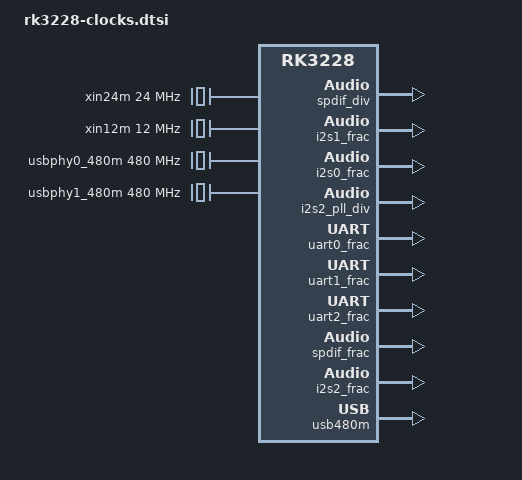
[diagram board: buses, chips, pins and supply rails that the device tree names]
/*
 * Copyright (C) 2014-2015 ROCKCHIP, Inc.
 *
 * This program is free software; you can redistribute it and/or modify
 * it under the terms of the GNU General Public License as published by
 * the Free Software Foundation; either version 2 of the License, or
 * (at your option) any later version.
 *
 * This program is distributed in the hope that it will be useful,
 * but WITHOUT ANY WARRANTY; without even the implied warranty of
 * MERCHANTABILITY or FITNESS FOR A PARTICULAR PURPOSE.  See the
 * GNU General Public License for more details.
 */
#include <dt-bindings/clock/rockchip,rk3228.h>

/{
	clocks {
		compatible = "rockchip,rk-clocks";
		#address-cells = <1>;
		#size-cells = <1>;
		ranges = <0x0  0x110e0000  0x1000>;

		fixed_rate_cons {
			compatible = "rockchip,rk-fixed-rate-cons";

			xin24m: xin24m {
				compatible = "rockchip,rk-fixed-clock";
				clock-output-names = "xin24m";
				clock-frequency = <24000000>;
				#clock-cells = <0>;
			};

			xin12m: xin12m {
				compatible = "rockchip,rk-fixed-clock";
				clocks = <&xin24m>;
				clock-output-names = "xin12m";
				clock-frequency = <12000000>;
				#clock-cells = <0>;
			};

			hdmiphy_out: hdmiphy_out {
				compatible = "rockchip,rk-fixed-clock";
				clock-output-names = "hdmiphy_out";
				clock-frequency = <594000000>;
				#clock-cells = <0>;
			};

			usbphy0_480m: usbphy0_480m {
				compatible = "rockchip,rk-fixed-clock";
				clock-output-names = "usbphy0_480m";
				clock-frequency = <480000000>;
				#clock-cells = <0>;
			};

			usbphy1_480m: usbphy1_480m {
				compatible = "rockchip,rk-fixed-clock";
				clock-output-names = "usbphy1_480m";
				clock-frequency = <480000000>;
				#clock-cells = <0>;
			};

			jtag_clkin: jtag_clkin {
				compatible = "rockchip,rk-fixed-clock";
				clock-output-names = "jtag_clkin";
				clock-frequency = <0>;
				#clock-cells = <0>;
			};

			dummy: dummy {
				compatible = "rockchip,rk-fixed-clock";
				clock-output-names = "dummy";
				clock-frequency = <0>;
				#clock-cells = <0>;
			};

			gmac_clkin: gmac_clkin {
				compatible = "rockchip,rk-fixed-clock";
				clock-output-names = "gmac_clkin";
				clock-frequency = <0>;
				#clock-cells = <0>;
			};

			phy_50m_out: phy_50m_out {
				compatible = "rockchip,rk-fixed-clock";
				clock-output-names = "phy_50m_out";
				clock-frequency = <0>;
				#clock-cells = <0>;
			};

			phy_rx_out: phy_rx_out {
				compatible = "rockchip,rk-fixed-clock";
				clock-output-names = "phy_rx_out";
				clock-frequency = <0>;
				#clock-cells = <0>;
			};

			phy_tx_out: phy_tx_out {
				compatible = "rockchip,rk-fixed-clock";
				clock-output-names = "phy_tx_out";
				clock-frequency = <0>;
				#clock-cells = <0>;
			};

			clkin_hsadc_tsp: clkin_hsadc_tsp {
				compatible = "rockchip,rk-fixed-clock";
				clock-output-names = "clkin_hsadc_tsp";
				clock-frequency = <0>;
				#clock-cells = <0>;
			};

			i2s_clkin: i2s_clkin {
				compatible = "rockchip,rk-fixed-clock";
				clock-output-names = "i2s_clkin";
				clock-frequency = <0>;
				#clock-cells = <0>;
			};
		};

		fixed_factor_cons {
			compatible = "rockchip,rk-fixed-factor-cons";

			hclk_rkvdec: hclk_rkvdec {
				compatible = "rockchip,rk-fixed-factor-clock";
				clocks = <&aclk_rkvdec>;
				clock-output-names = "hclk_rkvdec";
				clock-div = <4>;
				clock-mult = <1>;
				#clock-cells = <0>;
			};

			hclk_vpu: hclk_vpu {
				compatible = "rockchip,rk-fixed-factor-clock";
				clocks = <&aclk_vpu>;
				clock-output-names = "hclk_vpu";
				clock-div = <4>;
				clock-mult = <1>;
				#clock-cells = <0>;
			};

			xin32k_out: xin32k_out {
				compatible = "rockchip,rk-fixed-clock";
				clocks = <&clk_hdmi_cec>;
				clock-output-names = "xin32k_out";
				clock-div = <1>;
				clock-mult = <1>;
				#clock-cells = <0>;
			};

		};

		clock_regs {
			compatible = "rockchip,rk-clock-regs";
			#address-cells = <1>;
			#size-cells = <1>;
			reg = <0x0000 0x1000>;
			ranges;

			/* PLL control regs */
			pll_cons {
				compatible = "rockchip,rk-pll-cons";
				#address-cells = <1>;
				#size-cells = <1>;
				ranges;

				clk_apll: pll-clk@0000 {
					compatible = "rockchip,rk3188-pll-clk";
					reg = <0x0000 0x10>;
					mode-reg = <0x0040 0>;
					status-reg = <0x04 10>;
					clocks = <&xin24m>;
					clock-output-names = "clk_apll";
					rockchip,pll-type = <CLK_PLL_3036_APLL>;
					#clock-cells = <0>;
				};

				clk_dpll: pll-clk@000c {
					compatible = "rockchip,rk3188-pll-clk";
					reg = <0x000c 0x10>;
					mode-reg = <0x0040 4>;
					status-reg = <0x10 10>;
					clocks = <&xin24m>;
					clock-output-names = "clk_dpll";
					rockchip,pll-type = <CLK_PLL_3036PLUS_AUTO>;
					#clock-cells = <0>;
				};


				clk_cpll: pll-clk@0018 {
					compatible = "rockchip,rk3188-pll-clk";
					reg = <0x0018 0x10>;
					mode-reg = <0x0040 8>;
					status-reg = <0x1c 10>;
					clocks = <&xin24m>;
					clock-output-names = "clk_cpll";
					rockchip,pll-type = <CLK_PLL_312XPLUS>;
					#clock-cells = <0>;
					#clock-init-cells = <1>;
				};

				clk_gpll: pll-clk@0024 {
					compatible = "rockchip,rk3188-pll-clk";
					reg = <0x0024 0x10>;
					mode-reg = <0x0040 12>;
					status-reg = <0x28 10>;
					clocks = <&xin24m>;
					clock-output-names = "clk_gpll";
					rockchip,pll-type = <CLK_PLL_312XPLUS>;
					#clock-cells = <0>;
					#clock-init-cells = <1>;
				};
			};

			/* Select control regs */
			clk_sel_cons {
				compatible = "rockchip,rk-sel-cons";
				#address-cells = <1>;
				#size-cells = <1>;
				ranges;

				clk_sel_con0: sel-con@0044 {
					compatible = "rockchip,rk3188-selcon";
					reg = <0x0044 0x4>;
					#address-cells = <1>;
					#size-cells = <1>;

					clk_core_div: clk_core_div {
						compatible = "rockchip,rk3188-div-con";
						rockchip,bits = <0 5>;
						clocks = <&clk_core>;
						clock-output-names = "clk_core";
						rockchip,div-type = <CLK_DIVIDER_PLUS_ONE>;
						#clock-cells = <0>;
						rockchip,clkops-idx = <CLKOPS_RATE_CORE>;
						rockchip,flags = <(CLK_GET_RATE_NOCACHE |
									CLK_SET_RATE_NO_REPARENT)>;
					};

					/* 5 reserved */

					clk_core: clk_core_mux {
						compatible = "rockchip,rk3188-mux-con";
						rockchip,bits = <6 2>;
						clocks = <&clk_apll>, <&clk_gpll>, <&clk_dpll>;
						clock-output-names = "clk_core";
						#clock-cells = <0>;
						#clock-init-cells = <1>;
					};

					aclk_bus: aclk_bus_div {
						compatible = "rockchip,rk3188-div-con";
						rockchip,bits = <8 5>;
						clocks = <&aclk_bus_mux>;
						clock-output-names = "aclk_bus";
						rockchip,div-type = <CLK_DIVIDER_PLUS_ONE>;
						#clock-cells = <0>;
						#clock-init-cells = <1>;
					};

					aclk_bus_mux: aclk_bus_mux {
						compatible = "rockchip,rk3188-mux-con";
						rockchip,bits = <13 2>;
						clocks = <&clk_cpll>, <&clk_gpll>, <&hdmi_phy_clk>;
						clock-output-names = "aclk_bus";
						#clock-cells = <0>;
						#clock-init-cells = <1>;
					};

					/* 15 reserved */

				};

				clk_sel_con1: sel-con@0048 {
					compatible = "rockchip,rk3188-selcon";
					reg = <0x0048 0x4>;
					#address-cells = <1>;
					#size-cells = <1>;

					pclk_dbg:  pclk_dbg_div {
						compatible = "rockchip,rk3188-div-con";
						rockchip,bits = <0 4>;
						clocks = <&clk_core>;
						clock-output-names = "pclk_dbg";
						rockchip,div-type = <CLK_DIVIDER_PLUS_ONE>;
						#clock-cells = <0>;
						rockchip,clkops-idx = <CLKOPS_RATE_CORE_CHILD>;
					};

					aclk_core: aclk_core_div {
						compatible = "rockchip,rk3188-div-con";
						rockchip,bits = <4 3>;
						clocks = <&clk_core>;
						clock-output-names = "aclk_core";
						rockchip,div-type = <CLK_DIVIDER_PLUS_ONE>;
						#clock-cells = <0>;
						rockchip,clkops-idx = <CLKOPS_RATE_CORE_CHILD>;
					};

					/* 7 reserved */

					hclk_bus: hclk_bus_div {
						compatible = "rockchip,rk3188-div-con";
						rockchip,bits = <8 2>;
						clocks = <&aclk_bus>;
						clock-output-names = "hclk_bus";
						rockchip,div-type = <CLK_DIVIDER_PLUS_ONE>;
						#clock-cells = <0>;
						#clock-init-cells = <1>;
					};

					/* 11:10 reserved */

					pclk_bus: pclk_bus_div {
						compatible = "rockchip,rk3188-div-con";
						rockchip,bits = <12 3>;
						clocks = <&aclk_bus>;
						clock-output-names = "pclk_bus";
						rockchip,div-type = <CLK_DIVIDER_PLUS_ONE>;
						#clock-cells = <0>;
						#clock-init-cells = <1>;
					};

					/* 15 reserved */

				};

				clk_sel_con2: sel-con@004c {
					compatible = "rockchip,rk3188-selcon";
					reg = <0x004c 0x4>;
					#address-cells = <1>;
					#size-cells = <1>;

					hclk_vio: hclk_vio_div {
						compatible = "rockchip,rk3188-div-con";
						rockchip,bits = <0 5>;
						clocks = <&aclk_iep>;
						clock-output-names = "hclk_vio";
						rockchip,div-type = <CLK_DIVIDER_PLUS_ONE>;
						#clock-cells = <0>;
						#clock-init-cells = <1>;
					};

					/* 7:5 reserved */

					clk_nandc_div: clk_nandc_div {
						compatible = "rockchip,rk3188-div-con";
						rockchip,bits = <8 5>;
						clocks = <&clk_nandc>;
						clock-output-names = "clk_nandc";
						rockchip,div-type = <CLK_DIVIDER_PLUS_ONE>;
						#clock-cells = <0>;
						rockchip,clkops-idx =
							<CLKOPS_RATE_MUX_DIV>;
					};

					/* 13: reserved */

					clk_nandc: clk_nandc_mux {
						compatible = "rockchip,rk3188-mux-con";
						rockchip,bits = <14 1>;
						clocks = <&clk_cpll>, <&clk_gpll>;
						clock-output-names = "clk_nandc";
						#clock-cells = <0>;
						#clock-init-cells = <1>;
					};

					/* 15 reserved */

				};

				clk_sel_con3: sel-con@0050 {
					compatible = "rockchip,rk3188-selcon";
					reg = <0x0050 0x4>;
					#address-cells = <1>;
					#size-cells = <1>;

					clk_i2s1_pll_div: clk_i2s1_pll_div {
						compatible = "rockchip,rk3188-div-con";
						rockchip,bits = <0 7>;
						clocks = <&clk_i2s1_pll>;
						clock-output-names = "clk_i2s1_pll";
						rockchip,div-type = <CLK_DIVIDER_PLUS_ONE>;
						#clock-cells = <0>;
						rockchip,clkops-idx =
							<CLKOPS_RATE_MUX_DIV>;
						rockchip,flags = <CLK_SET_RATE_NO_REPARENT>;
					};

					/* 7: reserved */

					clk_i2s1: clk_i2s1_mux {
						compatible = "rockchip,rk3188-mux-con";
						rockchip,bits = <8 2>;
						clocks = <&clk_i2s1_pll_div>, <&i2s1_frac>, <&i2s_clkin>, <&xin12m>;
						clock-output-names = "clk_i2s1";
						#clock-cells = <0>;
						rockchip,clkops-idx =
							<CLKOPS_RATE_RK3288_I2S>;
						rockchip,flags = <CLK_SET_RATE_PARENT>;
					};

					/* 11:10: reserved */

					clk_i2s1_out: clk_i2s1_out_mux {
						compatible = "rockchip,rk3188-mux-con";
						rockchip,bits = <12 1>;
						clocks = <&clk_i2s1>, <&xin12m>;
						clock-output-names = "i2s_clkout";
						#clock-cells = <0>;
					};

					/* 14:13: reserved */

					clk_i2s1_pll: i2s1_pll_mux {
						compatible = "rockchip,rk3188-mux-con";
						rockchip,bits = <15 1>;
						clocks = <&clk_cpll>,<&clk_gpll>;
						clock-output-names = "clk_i2s1_pll";
						#clock-cells = <0>;
						#clock-init-cells = <1>;
					};

				};

				clk_sel_con4: sel-con@0054 {
					compatible = "rockchip,rk3188-selcon";
					reg = <0x0054 0x4>;
					#address-cells = <1>;
					#size-cells = <1>;

					testclk_div: testclk_div {
						compatible = "rockchip,rk3188-div-con";
						rockchip,bits = <0 5>;
						clocks = <&testclk>;
						clock-output-names = "testclk";
						rockchip,div-type = <CLK_DIVIDER_PLUS_ONE>;
						#clock-cells = <0>;
						rockchip,clkops-idx = <CLKOPS_RATE_MUX_DIV>;
					};

					/* 7:5 reserved */

					clk_24m_div: clk_24m_div {
						compatible = "rockchip,rk3188-div-con";
						rockchip,bits = <8 5>;
						clocks = <&xin24m>;
						clock-output-names = "clk_24m";
						rockchip,div-type = <CLK_DIVIDER_PLUS_ONE>;
						#clock-cells = <0>;
						rockchip,clkops-idx = <CLKOPS_RATE_MUX_DIV>;
					};

					/* 15:13 reserved */

				};

				clk_sel_con5: sel-con@0058 {
					compatible = "rockchip,rk3188-selcon";
					reg = <0x0058 0x4>;
					#address-cells = <1>;
					#size-cells = <1>;

					clk_mac_pll_div: clk_mac_pll_div {
						compatible = "rockchip,rk3188-div-con";
						rockchip,bits = <0 5>;
						clocks = <&clk_mac_pll>;
						clock-output-names = "clk_mac_pll";
						rockchip,div-type = <CLK_DIVIDER_PLUS_ONE>;
						#clock-cells = <0>;
						rockchip,clkops-idx = <CLKOPS_RATE_MUX_DIV>;
					};

					clk_mac: clk_mac_mux {
						compatible = "rockchip,rk3188-mux-con";
						rockchip,bits = <5 1>;
						clocks = <&clk_mac_pll>, <&rmii_clkin>;
						clock-output-names = "clk_mac";
						#clock-cells = <0>;
						rockchip,flags = <CLK_SET_RATE_PARENT>;
						#clock-init-cells = <1>;
					};

					/* 6 reserved */

					clk_mac_pll: clk_mac_pll_mux {
						compatible = "rockchip,rk3188-mux-con";
						rockchip,bits = <7 1>;
						clocks = <&clk_cpll>, <&clk_gpll>;
						clock-output-names = "clk_mac_pll";
						#clock-cells = <0>;
					};

					clk_gmac_div: clk_gmac_div {
						compatible = "rockchip,rk3188-div-con";
						rockchip,bits = <8 5>;
						clocks = <&clk_gmac>;
						clock-output-names = "clk_gmac";
						rockchip,div-type = <CLK_DIVIDER_PLUS_ONE>;
						#clock-cells = <0>;
						rockchip,clkops-idx =
							<CLKOPS_RATE_MUX_DIV>;
					};

					/* 14:13 reserved */

					clk_gmac: clk_gmac_mux {
						compatible = "rockchip,rk3188-mux-con";
						rockchip,bits = <15 1>;
						clocks = <&clk_cpll>, <&clk_gpll>;
						clock-output-names = "clk_gmac";
						#clock-cells = <0>;
						#clock-init-cells = <1>;
					};

				};

				clk_sel_con6: sel-con@005c {
					compatible = "rockchip,rk3188-selcon";
					reg = <0x005c 0x4>;
					#address-cells = <1>;
					#size-cells = <1>;

					spdif_div: spdif_div {
						compatible = "rockchip,rk3188-div-con";
						rockchip,bits = <0 7>;
						clocks = <&clk_spdif_pll>;
						clock-output-names = "clk_spdif_pll";
						rockchip,div-type = <CLK_DIVIDER_PLUS_ONE>;
						#clock-cells = <0>;
						rockchip,clkops-idx =
							<CLKOPS_RATE_MUX_DIV>;
						rockchip,flags = <CLK_SET_RATE_NO_REPARENT>;
					};

					/* 7 reserved */

					clk_spdif: spdif_mux {
						compatible = "rockchip,rk3188-mux-con";
						rockchip,bits = <8 2>;
						clocks = <&spdif_div>, <&spdif_frac>, <&xin12m>;
						clock-output-names = "clk_spdif";
						#clock-cells = <0>;
						rockchip,clkops-idx =
							<CLKOPS_RATE_RK3288_I2S>;
						rockchip,flags = <CLK_SET_RATE_PARENT>;
					};

					/* 14:10 reserved */

					clk_spdif_pll: spdif_pll_mux {
						compatible = "rockchip,rk3188-mux-con";
						rockchip,bits = <15 1>;
						clocks = <&clk_cpll>,<&clk_gpll>;
						clock-output-names = "clk_spdif_pll";
						#clock-cells = <0>;
						#clock-init-cells = <1>;
					};

				};

				clk_sel_con7: sel-con@0060 {
					compatible = "rockchip,rk3188-selcon";
					reg = <0x0060 0x4>;
					#address-cells = <1>;
					#size-cells = <1>;

					i2s1_frac: i2s1_frac {
						compatible = "rockchip,rk3188-frac-con";
						clocks = <&clk_i2s1_pll_div>;
						clock-output-names = "i2s1_frac";
						/* numerator	denominator */
						rockchip,bits = <0 32>;
						rockchip,clkops-idx =
							<CLKOPS_RATE_FRAC>;
						#clock-cells = <0>;
					};

				};

				clk_sel_con8: sel-con@0064 {
					compatible = "rockchip,rk3188-selcon";
					reg = <0x0064 0x4>;
					#address-cells = <1>;
					#size-cells = <1>;

					i2s0_frac: i2s0_frac {
						compatible = "rockchip,rk3188-frac-con";
						clocks = <&clk_i2s0_pll_div>;
						clock-output-names = "i2s0_frac";
						/* numerator	denominator */
						rockchip,bits = <0 32>;
						rockchip,clkops-idx =
							<CLKOPS_RATE_FRAC>;
						#clock-cells = <0>;
					};

				};

				clk_sel_con9: sel-con@0068 {
					compatible = "rockchip,rk3188-selcon";
					reg = <0x0068 0x4>;
					#address-cells = <1>;
					#size-cells = <1>;

					clk_i2s0_pll_div: clk_i2s0_pll_div {
						compatible = "rockchip,rk3188-div-con";
						rockchip,bits = <0 7>;
						clocks = <&clk_i2s0_pll>;
						clock-output-names = "clk_i2s0_pll";
						rockchip,div-type = <CLK_DIVIDER_PLUS_ONE>;
						#clock-cells = <0>;
						rockchip,clkops-idx =
							<CLKOPS_RATE_MUX_DIV>;
						rockchip,flags = <CLK_SET_RATE_NO_REPARENT>;
					};

					/* 7: reserved */

					clk_i2s0: clk_i2s0_mux {
						compatible = "rockchip,rk3188-mux-con";
						rockchip,bits = <8 2>;
						clocks = <&clk_i2s0_pll_div>, <&i2s0_frac>, <&i2s_clkin>, <&xin12m>;
						clock-output-names = "clk_i2s0";
						#clock-cells = <0>;
						rockchip,clkops-idx =
							<CLKOPS_RATE_RK3288_I2S>;
						rockchip,flags = <CLK_SET_RATE_PARENT>;
					};

					/* 14:10: reserved */

					clk_i2s0_pll: i2s0_pll_mux {
						compatible = "rockchip,rk3188-mux-con";
						rockchip,bits = <15 1>;
						clocks = <&clk_cpll>,<&clk_gpll>;
						clock-output-names = "clk_i2s0_pll";
						#clock-cells = <0>;
						#clock-init-cells = <1>;
					};

				};

				clk_sel_con10: sel-con@006c {
					compatible = "rockchip,rk3188-selcon";
					reg = <0x006c 0x4>;
					#address-cells = <1>;
					#size-cells = <1>;

					aclk_peri_div: aclk_peri_div {
						compatible = "rockchip,rk3188-div-con";
						rockchip,bits = <0 5>;
						clocks = <&aclk_peri>;
						clock-output-names = "aclk_peri";
						rockchip,div-type = <CLK_DIVIDER_PLUS_ONE>;
						#clock-cells = <0>;
						rockchip,clkops-idx = <CLKOPS_RATE_MUX_DIV>;
					};

					/* 7:5: reserved */

					hclk_peri: hclk_peri_div {
						compatible = "rockchip,rk3188-div-con";
						rockchip,bits = <8 2>;
						clocks = <&aclk_peri>;
						clock-output-names = "hclk_peri";
						rockchip,div-type = <CLK_DIVIDER_USER_DEFINE>;
						rockchip,div-relations =
								<0x0 1
								 0x1 2
								 0x2 4>;
						#clock-cells = <0>;
						#clock-init-cells = <1>;
					};

					aclk_peri: aclk_peri_mux {
						compatible = "rockchip,rk3188-mux-con";
						rockchip,bits = <10 2>;
						clocks = <&clk_cpll>, <&clk_gpll>, <&hdmi_phy_clk>;
						clock-output-names = "aclk_peri";
						#clock-cells = <0>;
						#clock-init-cells = <1>;
					};

					pclk_peri: pclk_peri_div {
						compatible = "rockchip,rk3188-div-con";
						rockchip,bits = <12 2>;
						clocks = <&aclk_peri>;
						clock-output-names = "pclk_peri";
						rockchip,div-type = <CLK_DIVIDER_USER_DEFINE>;
						rockchip,div-relations =
								<0x0 1
								 0x1 2
								 0x2 4
								 0x3 8>;
						#clock-cells = <0>;
						#clock-init-cells = <1>;
					};

					/* 15: reserved */

				};

				clk_sel_con11: sel-con@0070 {
					compatible = "rockchip,rk3188-selcon";
					reg = <0x0070 0x4>;
					#address-cells = <1>;
					#size-cells = <1>;

					clk_sdmmc0_div: clk_sdmmc0_div {
						compatible = "rockchip,rk3188-div-con";
						rockchip,bits = <0 8>;
						clocks = <&clk_sdmmc0>;
						clock-output-names = "clk_sdmmc0";
						rockchip,div-type = <CLK_DIVIDER_PLUS_ONE>;
						#clock-cells = <0>;
						rockchip,clkops-idx =
							<CLKOPS_RATE_MUX_EVENDIV>;
					};

					clk_sdmmc0: clk_sdmmc0_mux {
						compatible = "rockchip,rk3188-mux-con";
						rockchip,bits = <8 2>;
						clocks = <&clk_cpll>,<&clk_gpll>,<&xin24m>,<&usb480m>;
						clock-output-names = "clk_sdmmc0";
						#clock-cells = <0>;
						#clock-init-cells = <1>;
					};

					clk_sdio: clk_sdio_mux {
						compatible = "rockchip,rk3188-mux-con";
						rockchip,bits = <10 2>;
						clocks = <&clk_cpll>,<&clk_gpll>,<&xin24m>,<&usb480m>;
						clock-output-names = "clk_sdio";
						#clock-cells = <0>;
						#clock-init-cells = <1>;
					};

					clk_emmc: clk_emmc_mux {
						compatible = "rockchip,rk3188-mux-con";
						rockchip,bits = <12 2>;
						clocks = <&clk_cpll>,<&clk_gpll>,<&xin24m>,<&usb480m>;
						clock-output-names = "clk_emmc";
						#clock-cells = <0>;
						#clock-init-cells = <1>;
					};

					/* 15:14 reserved */

				};

				clk_sel_con12: sel-con@0074 {
					compatible = "rockchip,rk3188-selcon";
					reg = <0x0074 0x4>;
					#address-cells = <1>;
					#size-cells = <1>;

					clk_sdio_div: clk_sdio_div {
						compatible = "rockchip,rk3188-div-con";
						rockchip,bits = <0 8>;
						clocks = <&clk_sdio>;
						clock-output-names = "clk_sdio";
						rockchip,div-type = <CLK_DIVIDER_PLUS_ONE>;
						#clock-cells = <0>;
						rockchip,clkops-idx =
							<CLKOPS_RATE_MUX_EVENDIV>;
					};

					clk_emmc_div: clk_emmc_div {
						compatible = "rockchip,rk3188-div-con";
						rockchip,bits = <8 8>;
						clocks = <&clk_emmc>;
						clock-output-names = "clk_emmc";
						rockchip,div-type = <CLK_DIVIDER_PLUS_ONE>;
						#clock-cells = <0>;
						rockchip,clkops-idx =
							<CLKOPS_RATE_MUX_EVENDIV>;
					};

				};

				clk_sel_con13: sel-con@0078 {
					compatible = "rockchip,rk3188-selcon";
					reg = <0x0078 0x4>;
					#address-cells = <1>;
					#size-cells = <1>;

					clk_uart0_pll_div: clk_uart0_pll_div {
						compatible = "rockchip,rk3188-div-con";
						rockchip,bits = <0 7>;
						clocks = <&clk_uart0_pll>;
						clock-output-names = "clk_uart0_pll";
						rockchip,div-type = <CLK_DIVIDER_PLUS_ONE>;
						#clock-cells = <0>;
					};

					/* 7 reserved */

					clk_uart0: clk_uart0_mux {
						compatible = "rockchip,rk3188-mux-con";
						rockchip,bits = <8 2>;
						clocks = <&clk_uart0_pll_div>, <&uart0_frac>, <&xin24m>;
						clock-output-names = "clk_uart0";
						#clock-cells = <0>;
						rockchip,clkops-idx =
							<CLKOPS_RATE_RK3288_I2S>;
						rockchip,flags = <CLK_SET_RATE_PARENT>;
					};

					/* 11:10 reserved */

					clk_uart0_pll: clk_uart0_pll_mux {
						compatible = "rockchip,rk3188-mux-con";
						rockchip,bits = <12 2>;
						clocks = <&clk_cpll>, <&clk_gpll>, <&usb480m>;
						clock-output-names = "clk_uart0_pll";
						#clock-cells = <0>;
						#clock-init-cells = <1>;
					};

					/* 15:14 reserved */

				};

				clk_sel_con14: sel-con@007c {
					compatible = "rockchip,rk3188-selcon";
					reg = <0x007c 0x4>;
					#address-cells = <1>;
					#size-cells = <1>;

					clk_uart1_pll_div: clk_uart1_pll_div {
						compatible = "rockchip,rk3188-div-con";
						rockchip,bits = <0 7>;
						clocks = <&clk_uart1_pll>;
						clock-output-names = "clk_uart1_pll";
						rockchip,div-type = <CLK_DIVIDER_PLUS_ONE>;
						#clock-cells = <0>;
					};

					/* 7 reserved */

					clk_uart1: clk_uart1_mux {
						compatible = "rockchip,rk3188-mux-con";
						rockchip,bits = <8 2>;
						clocks = <&clk_uart1_pll_div>, <&uart1_frac>, <&xin24m>;
						clock-output-names = "clk_uart1";
						#clock-cells = <0>;
						rockchip,clkops-idx =
							<CLKOPS_RATE_RK3288_I2S>;
						rockchip,flags = <CLK_SET_RATE_PARENT>;
					};

					/* 11:10 reserved */

					clk_uart1_pll: clk_uart1_pll_mux {
						compatible = "rockchip,rk3188-mux-con";
						rockchip,bits = <12 2>;
						clocks = <&clk_cpll>, <&clk_gpll>, <&usb480m>;
						clock-output-names = "clk_uart1_pll";
						#clock-cells = <0>;
						#clock-init-cells = <1>;
					};

					/* 15:14 reserved */
				};

				clk_sel_con15: sel-con@0080 {
					compatible = "rockchip,rk3188-selcon";
					reg = <0x0080 0x4>;
					#address-cells = <1>;
					#size-cells = <1>;

					clk_uart2_pll_div: clk_uart2_pll_div {
						compatible = "rockchip,rk3188-div-con";
						rockchip,bits = <0 7>;
						clocks = <&clk_uart2_pll>;
						clock-output-names = "clk_uart2_pll";
						rockchip,div-type = <CLK_DIVIDER_PLUS_ONE>;
						#clock-cells = <0>;
					};

					/* 7 reserved */

					clk_uart2: clk_uart2_mux {
						compatible = "rockchip,rk3188-mux-con";
						rockchip,bits = <8 2>;
						clocks = <&clk_uart2_pll>, <&uart2_frac>, <&xin24m>;
						clock-output-names = "clk_uart2";
						#clock-cells = <0>;
						rockchip,clkops-idx =
							<CLKOPS_RATE_RK3288_I2S>;
						rockchip,flags = <CLK_SET_RATE_PARENT>;
					};

					/* 11:10 reserved */

					clk_uart2_pll: clk_uart2_pll_mux {
						compatible = "rockchip,rk3188-mux-con";
						rockchip,bits = <12 2>;
						clocks = <&clk_cpll>, <&clk_gpll>, <&usb480m>;
						clock-output-names = "clk_uart2_pll";
						#clock-cells = <0>;
						#clock-init-cells = <1>;
					};

					/* 15:14 reserved */

				};

				clk_sel_con16: sel-con@0084 {
					compatible = "rockchip,rk3188-selcon";
					reg = <0x0084 0x4>;
					#address-cells = <1>;
					#size-cells = <1>;

					i2s2_pll_div: i2s2_pll_div {
						compatible = "rockchip,rk3188-div-con";
						rockchip,bits = <0 7>;
						clocks = <&clk_i2s2_pll>;
						clock-output-names = "clk_i2s2_pll";
						rockchip,div-type = <CLK_DIVIDER_PLUS_ONE>;
						#clock-cells = <0>;
						rockchip,clkops-idx =
							<CLKOPS_RATE_MUX_DIV>;
						rockchip,flags = <CLK_SET_RATE_NO_REPARENT>;
					};

					/* 7: reserved */

					clk_i2s2: clk_i2s2_mux {
						compatible = "rockchip,rk3188-mux-con";
						rockchip,bits = <8 2>;
						clocks = <&i2s2_pll_div>, <&i2s2_frac>, <&i2s_clkin>, <&xin12m>;
						clock-output-names = "clk_i2s2";
						#clock-cells = <0>;
						rockchip,clkops-idx =
							<CLKOPS_RATE_RK3288_I2S>;
						rockchip,flags = <CLK_SET_RATE_PARENT>;
					};

					/* 14:10: reserved */

					clk_i2s2_pll: i2s2_pll_mux {
						compatible = "rockchip,rk3188-mux-con";
						rockchip,bits = <15 1>;
						clocks = <&clk_cpll>,<&clk_gpll>;
						clock-output-names = "clk_i2s2_pll";
						#clock-cells = <0>;
						#clock-init-cells = <1>;
					};

				};

				clk_sel_con17: sel-con@0088 {
					compatible = "rockchip,rk3188-selcon";
					reg = <0x0088 0x4>;
					#address-cells = <1>;
					#size-cells = <1>;

					uart0_frac: uart0_frac {
						compatible = "rockchip,rk3188-frac-con";
						clocks = <&clk_uart0_pll_div>;
						clock-output-names = "uart0_frac";
						/* numerator	denominator */
						rockchip,bits = <0 32>;
						rockchip,clkops-idx =
							<CLKOPS_RATE_FRAC>;
						#clock-cells = <0>;
					};

				};

				clk_sel_con18: sel-con@008c {
					compatible = "rockchip,rk3188-selcon";
					reg = <0x008c 0x4>;
					#address-cells = <1>;
					#size-cells = <1>;

					uart1_frac: uart1_frac {
						compatible = "rockchip,rk3188-frac-con";
						clocks = <&clk_uart1_pll_div>;
						clock-output-names = "uart1_frac";
						/* numerator	denominator */
						rockchip,bits = <0 32>;
						rockchip,clkops-idx =
							<CLKOPS_RATE_FRAC>;
						#clock-cells = <0>;
					};

				};

				clk_sel_con19: sel-con@0090 {
					compatible = "rockchip,rk3188-selcon";
					reg = <0x0090 0x4>;
					#address-cells = <1>;
					#size-cells = <1>;

					uart2_frac: uart2_frac {
						compatible = "rockchip,rk3188-frac-con";
						clocks = <&clk_uart2_pll_div>;
						clock-output-names = "uart2_frac";
						/* numerator	denominator */
						rockchip,bits = <0 32>;
						rockchip,clkops-idx =
							<CLKOPS_RATE_FRAC>;
						#clock-cells = <0>;
					};

				};

				clk_sel_con20: sel-con@0094 {
					compatible = "rockchip,rk3188-selcon";
					reg = <0x0094 0x4>;
					#address-cells = <1>;
					#size-cells = <1>;

					spdif_frac: spdif_frac {
						compatible = "rockchip,rk3188-frac-con";
						clocks = <&spdif_div>;
						clock-output-names = "spdif_frac";
						/* numerator	denominator */
						rockchip,bits = <0 32>;
						rockchip,clkops-idx =
							<CLKOPS_RATE_FRAC>;
						#clock-cells = <0>;
					};

				};

				clk_sel_con21: sel-con@0098 {
					compatible = "rockchip,rk3188-selcon";
					reg = <0x0098 0x4>;
					#address-cells = <1>;
					#size-cells = <1>;

					clk_hdmi_cec: clk_hdmi_cec_div {
						compatible = "rockchip,rk3188-div-con";
						rockchip,bits = <0 14>;
						clocks = <&xin24m>;
						clock-output-names = "clk_hdmi_cec";
						rockchip,div-type = <CLK_DIVIDER_PLUS_ONE>;
						#clock-cells = <0>;
						rockchip,clkops-idx = <CLKOPS_RATE_MUX_DIV>;
					};
					/*
					clk_hdmi_cec_div: clk_hdmi_cec_div {
						compatible = "rockchip,rk3188-div-con";
						rockchip,bits = <0 14>;
						clocks = <&clk_hdmi_cec>;
						clock-output-names = "clk_hdmi_cec";
						rockchip,div-type = <CLK_DIVIDER_PLUS_ONE>;
						#clock-cells = <0>;
						rockchip,clkops-idx = <CLKOPS_RATE_MUX_DIV>;
					};

					clk_hdmi_cec: clk_hdmi_cec_mux {
						compatible = "rockchip,rk3188-mux-con";
						rockchip,bits = <14 2>;
						clocks = <&dummy>, <&dummy>, <&xin24m>;
						clock-output-names = "clk_hdmi_cec";
						#clock-cells = <0>;
					};
					*/
				};

				clk_sel_con22: sel-con@009c {
					compatible = "rockchip,rk3188-selcon";
					reg = <0x009c 0x4>;
					#address-cells = <1>;
					#size-cells = <1>;

					clk_rga: clk_rga_div {
						compatible = "rockchip,rk3188-div-con";
						rockchip,bits = <0 5>;
						clocks = <&aclk_rga>;
						clock-output-names = "clk_rga";
						rockchip,div-type = <CLK_DIVIDER_PLUS_ONE>;
						#clock-cells = <0>;
						rockchip,clkops-idx = <CLKOPS_RATE_MUX_DIV>;
					};

					/* 7:0 reserved */

					clk_tsp_div: clk_tsp_div {
						compatible = "rockchip,rk3188-div-con";
						rockchip,bits = <8 5>;
						clocks = <&clk_tsp>;
						clock-output-names = "clk_tsp";
						rockchip,div-type = <CLK_DIVIDER_PLUS_ONE>;
						#clock-cells = <0>;
						rockchip,clkops-idx = <CLKOPS_RATE_MUX_DIV>;
					};

					/* 14:13 reserved */

					clk_tsp: clk_tsp_mux {
						compatible = "rockchip,rk3188-mux-con";
						rockchip,bits = <15 1>;
						clocks = <&clk_cpll>, <&clk_gpll>;
						clock-output-names = "clk_tsp";
						#clock-cells = <0>;
					};

				};

				clk_sel_con23: sel-con@00a0 {
					compatible = "rockchip,rk3188-selcon";
					reg = <0x00a0 0x4>;
					#address-cells = <1>;
					#size-cells = <1>;

					clk_wifi_div: clk_wifi_div {
						compatible = "rockchip,rk3188-div-con";
						rockchip,bits = <0 5>;
						clocks = <&clk_wifi>;
						clock-output-names = "clk_wifi";
						rockchip,div-type = <CLK_DIVIDER_PLUS_ONE>;
						#clock-cells = <0>;
						rockchip,clkops-idx = <CLKOPS_RATE_MUX_DIV>;
					};

					clk_wifi: clk_wifi_mux {
						compatible = "rockchip,rk3188-mux-con";
						rockchip,bits = <5 2>;
						clocks = <&clk_cpll>, <&clk_gpll>, <&usb480m>;
						clock-output-names = "clk_wifi";
						#clock-cells = <0>;
					};

					/* 7 reserved */

					clk_hdcp_div: clk_hdcp_div {
						compatible = "rockchip,rk3188-div-con";
						rockchip,bits = <8 6>;
						clocks = <&clk_hdcp>;
						clock-output-names = "clk_hdcp";
						rockchip,div-type = <CLK_DIVIDER_PLUS_ONE>;
						#clock-cells = <0>;
						rockchip,clkops-idx = <CLKOPS_RATE_MUX_DIV>;
					};

					clk_hdcp: clk_hdcp_mux {
						compatible = "rockchip,rk3188-mux-con";
						rockchip,bits = <14 2>;
						clocks = <&clk_cpll>, <&clk_gpll>, <&hdmi_phy_clk>;
						clock-output-names = "clk_hdcp";
						#clock-cells = <0>;
					};

				};

				clk_sel_con24: sel-con@00a4 {
					compatible = "rockchip,rk3188-selcon";
					reg = <0x00a4 0x4>;
					#address-cells = <1>;
					#size-cells = <1>;

					clk_crypto_div: clk_crypto_div {
						compatible = "rockchip,rk3188-div-con";
						rockchip,bits = <0 5>;
						clocks = <&clk_crypto>;
						clock-output-names = "clk_crypto";
						rockchip,div-type = <CLK_DIVIDER_PLUS_ONE>;
						#clock-cells = <0>;
						#clock-init-cells = <1>;
					};

					clk_crypto: clk_crypto_mux {
						compatible = "rockchip,rk3188-mux-con";
						rockchip,bits = <5 1>;
						clocks = <&clk_cpll>, <&clk_gpll>;
						clock-output-names = "clk_crypto";
						#clock-cells = <0>;
					};

					clk_tsadc: clk_tsadc_div {
						compatible = "rockchip,rk3188-div-con";
						rockchip,bits = <6 10>;
						clocks = <&xin24m>;
						clock-output-names = "clk_tsadc";
						rockchip,div-type = <CLK_DIVIDER_PLUS_ONE>;
						#clock-cells = <0>;
						#clock-init-cells = <1>;
					};

				};

				clk_sel_con25: sel-con@00a8 {
					compatible = "rockchip,rk3188-selcon";
					reg = <0x00a8 0x4>;
					#address-cells = <1>;
					#size-cells = <1>;

					clk_spi0_div: clk_spi0_div {
						compatible = "rockchip,rk3188-div-con";
						rockchip,bits = <0 7>;
						clocks = <&clk_spi0>;
						clock-output-names = "clk_spi0";
						rockchip,div-type = <CLK_DIVIDER_PLUS_ONE>;
						#clock-cells = <0>;
						rockchip,clkops-idx = <CLKOPS_RATE_MUX_DIV>;
					};

					/* 7 reserved */

					clk_spi0: clk_spi0_mux {
						compatible = "rockchip,rk3188-mux-con";
						rockchip,bits = <8 1>;
						clocks = <&clk_cpll>, <&clk_gpll>;
						clock-output-names = "clk_spi0";
						#clock-cells = <0>;
					};

					/* 15:9 reserved */

				};

				clk_sel_con26: sel-con@00ac {
					compatible = "rockchip,rk3188-selcon";
					reg = <0x00ac 0x4>;
					#address-cells = <1>;
					#size-cells = <1>;

					clk_ddr_div: clk_ddr_div {
						compatible = "rockchip,rk3188-div-con";
						rockchip,bits = <0 2>;
						clocks = <&clk_ddr>;
						clock-output-names = "clk_ddr";
						rockchip,div-type = <CLK_DIVIDER_USER_DEFINE>;
						rockchip,div-relations =
								<0x0 1
								 0x1 2
								 0x3 4>;
						#clock-cells = <0>;
						rockchip,flags = <(CLK_GET_RATE_NOCACHE |
									CLK_SET_RATE_NO_REPARENT)>;
						rockchip,clkops-idx = <CLKOPS_RATE_DDR_DIV2>;
					};

					/* 7:2 reserved */

					clk_ddr: clk_ddr_pll_mux {
						compatible = "rockchip,rk3188-mux-con";
						rockchip,bits = <8 2>;
						clocks = <&clk_dpll>, <&clk_gpll>, <&clk_apll>;
						clock-output-names = "clk_ddr";
						#clock-cells = <0>;
					};

					/* 15:10 reserved */

				};

				clk_sel_con27: sel-con@00b0 {
					compatible = "rockchip,rk3188-selcon";
					reg = <0x00b0 0x4>;
					#address-cells = <1>;
					#size-cells = <1>;

					dclk_vop0_pll: dclk_vop0_pll_mux {
						compatible = "rockchip,rk3188-mux-con";
						rockchip,bits = <0 1>;
						clocks = <&clk_gpll>, <&clk_cpll>;
						clock-output-names = "dclk_vop0_pll";
						#clock-cells = <0>;
						#clock-init-cells = <1>;
					};

					dclk_vop0: dclk_vop0_mux {
						compatible = "rockchip,rk3188-mux-con";
						rockchip,bits = <1 1>;
						clocks = <&hdmi_phy_clk>, <&dummy>;/*dclk_vop0_div*/
						clock-output-names = "dclk_vop0";
						#clock-cells = <0>;
						#clock-init-cells = <1>;
					};

					/* 7:2 reserved */

					dclk_vop0_div: dclk_vop0_div {
						compatible = "rockchip,rk3188-div-con";
						rockchip,bits = <8 8>;
						clocks = <&dclk_vop0_pll>;
						clock-output-names = "dclk_vop0";
						rockchip,div-type = <CLK_DIVIDER_PLUS_ONE>;
						#clock-cells = <0>;
						rockchip,clkops-idx = <CLKOPS_RATE_MUX_DIV>;
					};

				};

				clk_sel_con28: sel-con@00b4 {
					compatible = "rockchip,rk3188-selcon";
					reg = <0x00b4 0x4>;
					#address-cells = <1>;
					#size-cells = <1>;

					aclk_rkvdec_div: aclk_rkvdec_div {
						compatible = "rockchip,rk3188-div-con";
						rockchip,bits = <0 5>;
						clocks = <&aclk_rkvdec>;
						clock-output-names = "aclk_rkvdec";
						rockchip,div-type = <CLK_DIVIDER_PLUS_ONE>;
						#clock-cells = <0>;
						rockchip,clkops-idx = <CLKOPS_RATE_MUX_DIV>;
					};

					/* 5 reserved */

					aclk_rkvdec: aclk_rkvdec_mux {
						compatible = "rockchip,rk3188-mux-con";
						rockchip,bits = <6 2>;
						clocks = <&clk_cpll>, <&clk_gpll>, <&hdmi_phy_clk>, <&usb480m>;
						clock-output-names = "aclk_rkvdec";
						#clock-cells = <0>;
						#clock-init-cells = <1>;
					};

					clk_vdec_cabac_div: clk_vdec_cabac_div {
						compatible = "rockchip,rk3188-div-con";
						rockchip,bits = <8 5>;
						clocks = <&clk_vdec_cabac>;
						clock-output-names = "clk_vdec_cabac";
						rockchip,div-type = <CLK_DIVIDER_PLUS_ONE>;
						#clock-cells = <0>;
						rockchip,clkops-idx = <CLKOPS_RATE_MUX_DIV>;
					};

					/* 13 reserved */

					clk_vdec_cabac: clk_vdec_cabac_mux {
						compatible = "rockchip,rk3188-mux-con";
						rockchip,bits = <14 2>;
						clocks = <&clk_cpll>, <&clk_gpll>, <&hdmi_phy_clk>, <&usb480m>;
						clock-output-names = "clk_vdec_cabac";
						#clock-cells = <0>;
						#clock-init-cells = <1>;
					};
				};

				clk_sel_con29: sel-con@00b8 {
					compatible = "rockchip,rk3188-selcon";
					reg = <0x00b8 0x4>;
					#address-cells = <1>;
					#size-cells = <1>;

					dclk_hdmiphy_div: dclk_hdmiphy_div {
						compatible = "rockchip,rk3188-div-con";
						rockchip,bits = <0 3>;
						clocks = <&dclk_vop0_pll>;
						clock-output-names = "dclk_hdmiphy";
						rockchip,div-type = <CLK_DIVIDER_PLUS_ONE>;
						#clock-cells = <0>;
						rockchip,clkops-idx = <CLKOPS_RATE_MUX_DIV>;
					};

					/* 7:3 reserved */

					clk_macphy_div: clk_macphy_div {
						compatible = "rockchip,rk3188-div-con";
						rockchip,bits = <8 3>;
						clocks = <&clk_macphy>;
						clock-output-names = "clk_macphy";
						rockchip,div-type = <CLK_DIVIDER_PLUS_ONE>;
						#clock-cells = <0>;
						rockchip,clkops-idx = <CLKOPS_RATE_MUX_DIV>;
					};

					rmii_clkin: rmii_clkin {
						compatible = "rockchip,rk3188-mux-con";
						rockchip,bits = <10 1>;
						clocks = <&gmac_clkin>, <&phy_50m_out>;
						clock-output-names = "rmii_clkin";
						#clock-cells = <0>;
						#clock-init-cells = <1>;
					};
					/*
					clk_mac_tx: clk_mac_tx {
						compatible = "rockchip,rk3188-mux-con";
						rockchip,bits = <11 1>;
						clocks = <&clk_gates5 6>, <&phy_tx_out>;
						clock-output-names = "clk_mac_tx";
						#clock-cells = <0>;
						#clock-init-cells = <1>;
					};
					*/
					clk_macphy: clk_macphy_mux {
						compatible = "rockchip,rk3188-mux-con";
						rockchip,bits = <12 1>;
						clocks = <&clk_mac_pll_div>, <&gmac_clkin>;
						clock-output-names = "clk_macphy";
						#clock-cells = <0>;
						#clock-init-cells = <1>;
					};

					/* 15:13 reserved */

				};

				clk_sel_con30: sel-con@00bc {
					compatible = "rockchip,rk3188-selcon";
					reg = <0x00bc 0x4>;
					#address-cells = <1>;
					#size-cells = <1>;

					i2s2_frac: i2s2_frac {
						compatible = "rockchip,rk3188-frac-con";
						clocks = <&i2s2_pll_div>;
						clock-output-names = "i2s2_frac";
						/* numerator	denominator */
						rockchip,bits = <0 32>;
						rockchip,clkops-idx =
							<CLKOPS_RATE_FRAC>;
						#clock-cells = <0>;
					};
				};

				clk_sel_con31: sel-con@00c0 {
					compatible = "rockchip,rk3188-selcon";
					reg = <0x00c0 0x4>;
					#address-cells = <1>;
					#size-cells = <1>;

					aclk_iep_div: aclk_iep_div {
						compatible = "rockchip,rk3188-div-con";
						rockchip,bits = <0 5>;
						clocks = <&aclk_iep>;
						clock-output-names = "aclk_iep";
						rockchip,div-type = <CLK_DIVIDER_PLUS_ONE>;
						#clock-cells = <0>;
						rockchip,clkops-idx = <CLKOPS_RATE_MUX_DIV>;
					};

					aclk_iep: aclk_iep_mux {
						compatible = "rockchip,rk3188-mux-con";
						rockchip,bits = <5 2>;
						clocks = <&clk_cpll>, <&clk_gpll>, <&hdmi_phy_clk>, <&usb480m>;
						clock-output-names = "aclk_iep";
						#clock-cells = <0>;
						#clock-init-cells = <1>;
					};

					/* 7: reserved */

					aclk_hdcp_div: aclk_hdcp_div {
						compatible = "rockchip,rk3188-div-con";
						rockchip,bits = <8 5>;
						clocks = <&aclk_hdcp>;
						clock-output-names = "aclk_hdcp";
						rockchip,div-type = <CLK_DIVIDER_PLUS_ONE>;
						#clock-cells = <0>;
						rockchip,clkops-idx = <CLKOPS_RATE_MUX_DIV>;
					};

					aclk_hdcp: aclk_hdcp_mux {
				            compatible = "rockchip,rk3188-mux-con";
				            rockchip,bits = <13 2>;
				            clocks = <&clk_cpll>, <&clk_gpll>, <&hdmi_phy_clk>, <&usb480m>;
				            clock-output-names = "aclk_hdcp";
				            #clock-cells = <0>;
					};

					/* 15: reserved */
				};

				clk_sel_con32: sel-con@00c4 {
					compatible = "rockchip,rk3188-selcon";
					reg = <0x00c4 0x4>;
					#address-cells = <1>;
					#size-cells = <1>;

					aclk_vpu_div: aclk_vpu_div {
						compatible = "rockchip,rk3188-div-con";
						rockchip,bits = <0 5>;
						clocks = <&aclk_vpu>;
						clock-output-names = "aclk_vpu";
						rockchip,div-type = <CLK_DIVIDER_PLUS_ONE>;
						#clock-cells = <0>;
						rockchip,clkops-idx = <CLKOPS_RATE_MUX_DIV>;
					};

					aclk_vpu: aclk_vpu_mux {
						compatible = "rockchip,rk3188-mux-con";
						rockchip,bits = <5 2>;
						clocks = <&clk_cpll>, <&clk_gpll>, <&hdmi_phy_clk>, <&usb480m>;
						clock-output-names = "aclk_vpu";
						#clock-cells = <0>;
						#clock-init-cells = <1>;
					};

					/* 15:7 reserved */

				};

				clk_sel_con33: sel-con@00c8 {
					compatible = "rockchip,rk3188-selcon";
					reg = <0x00c8 0x4>;
					#address-cells = <1>;
					#size-cells = <1>;

					aclk_vop_div: aclk_vop_div {
						compatible = "rockchip,rk3188-div-con";
						rockchip,bits = <0 5>;
						clocks = <&aclk_vop>;
						clock-output-names = "aclk_vop";
						rockchip,div-type = <CLK_DIVIDER_PLUS_ONE>;
						#clock-cells = <0>;
						rockchip,clkops-idx = <CLKOPS_RATE_MUX_DIV>;
					};

					aclk_vop: aclk_vop_mux {
						compatible = "rockchip,rk3188-mux-con";
						rockchip,bits = <5 2>;
						clocks = <&clk_cpll>, <&clk_gpll>, <&hdmi_phy_clk>, <&usb480m>;
						clock-output-names = "aclk_vop";
						#clock-cells = <0>;
						#clock-init-cells = <1>;
					};

					/* 7 reserved */

					 aclk_rga_div: aclk_rga_div {
						compatible = "rockchip,rk3188-div-con";
						rockchip,bits = <8 5>;
						clocks = <&aclk_rga>;
						clock-output-names = "aclk_rga";
						rockchip,div-type = <CLK_DIVIDER_PLUS_ONE>;
						#clock-cells = <0>;
						rockchip,clkops-idx = <CLKOPS_RATE_MUX_DIV>;
					};

					aclk_rga: aclk_rga_mux {
						compatible = "rockchip,rk3188-mux-con";
						rockchip,bits = <13 2>;
						clocks = <&clk_cpll>, <&clk_gpll>, <&hdmi_phy_clk>, <&usb480m>;
						clock-output-names = "aclk_rga";
						#clock-cells = <0>;
						#clock-init-cells = <1>;
					};

					/* 15 reserved */

				};

			clk_sel_con34: sel-con@00cc {
					compatible = "rockchip,rk3188-selcon";
					reg = <0x00cc 0x4>;
					#address-cells = <1>;
					#size-cells = <1>;

					clk_gpu_div: clk_gpu_div {
						compatible = "rockchip,rk3188-div-con";
						rockchip,bits = <0 5>;
						clocks = <&clk_gpu>;
						clock-output-names = "clk_gpu";
						rockchip,div-type = <CLK_DIVIDER_PLUS_ONE>;
						#clock-cells = <0>;
						rockchip,clkops-idx = <CLKOPS_RATE_MUX_DIV>;
					};

					clk_gpu: clk_gpu_mux {
						compatible = "rockchip,rk3188-mux-con";
						rockchip,bits = <5 2>;
						clocks = <&clk_cpll>, <&clk_gpll>, <&hdmi_phy_clk>, <&usb480m>;
						clock-output-names = "clk_gpu";
						#clock-cells = <0>;
						#clock-init-cells = <1>;
					};

					/* 7 reserved */

					 clk_vdec_core_div: clk_vdec_core_div {
						compatible = "rockchip,rk3188-div-con";
						rockchip,bits = <8 5>;
						clocks = <&clk_vdec_core>;
						clock-output-names = "clk_vdec_core";
						rockchip,div-type = <CLK_DIVIDER_PLUS_ONE>;
						#clock-cells = <0>;
						rockchip,clkops-idx = <CLKOPS_RATE_MUX_DIV>;
					};

					clk_vdec_core: clk_vdec_core_mux {
						compatible = "rockchip,rk3188-mux-con";
						rockchip,bits = <13 2>;
						clocks = <&clk_cpll>, <&clk_gpll>, <&hdmi_phy_clk>, <&usb480m>;
						clock-output-names = "clk_vdec_core";
						#clock-cells = <0>;
						#clock-init-cells = <1>;

					};

					/* 15 reserved */
				};

			clk_sel_con35: sel-con@0134 {
					compatible = "rockchip,rk3188-selcon";
					reg = <0x0134 0x4>;
					#address-cells = <1>;
					#size-cells = <1>;

					/* 7:0 reserved */

					 testclk: testclk_mux {
						compatible = "rockchip,rk3188-mux-con";
						rockchip,bits = <8 4>;
						clocks = <&clk_wifi>, <&dummy>, <&clk_core>, <&clk_gates7 0>, <&aclk_iep>, <&clk_gpu>, <&aclk_peri>, <&aclk_core>;
						clock-output-names = "testclk";
						#clock-cells = <0>;
						#clock-init-cells = <1>;
					};

					/* 12 reserved */

					 hdmi_phy_clk: hdmi_phy_clk_mux {
						compatible = "rockchip,rk3188-mux-con";
						rockchip,bits = <13 1>;
						clocks = <&hdmiphy_out>, <&xin24m>;
						clock-output-names = "hdmi_phy_clk";
						#clock-cells = <0>;
						#clock-init-cells = <1>;
					};

					usb480m_phy: usb480m_phy_mux {
						compatible = "rockchip,rk3188-mux-con";
						rockchip,bits = <14 1>;
						clocks = <&usbphy0_480m>, <&usbphy1_480m>;
						clock-output-names = "usb480m_phy";
						#clock-cells = <0>;
						#clock-init-cells = <1>;
					};

					usb480m: usb480m_mux {
						compatible = "rockchip,rk3188-mux-con";
						rockchip,bits = <15 1>;
						clocks = <&usb480m_phy>, <&xin24m>;
						clock-output-names = "usb480m";
						#clock-cells = <0>;
						rockchip,clkops-idx =
							<CLKOPS_RATE_RK3288_USB480M>;
						#clock-init-cells = <1>;
						};
					};
				};
			/* Gate control regs */
			clk_gate_cons {
				compatible = "rockchip,rk-gate-cons";
				#address-cells = <1>;
				#size-cells = <1>;
				ranges;
				clk_gates0: gate-clk@00d0 {
					compatible = "rockchip,rk3188-gate-clk";
					reg = <0x00d0 0x4>;
					clocks =
					<&dummy>,	<&dummy>,
					<&dummy>,	<&clk_i2s0_pll>,

					<&i2s0_frac>,	<&clk_i2s0>,
					<&dummy>,	<&clk_i2s2_pll>,

					<&i2s2_frac>,	<&clk_i2s2>,
					<&clk_i2s1_pll>,	<&i2s1_frac>,

					<&dummy>,	<&clk_i2s1_out>,
					<&clk_i2s1>,	<&testclk>;

					clock-output-names =
					"reserved",	"reserved",
					"reserved",	"clk_i2s0_pll",

					"i2s0_frac",	"i2s0_8ch",
					"reserved",	"clk_i2s2_pll",

					"i2s2_frac",	"i2s2_2ch",
					"clk_i2s1_pll",	"i2s1_frac",

					"reserved",	"i2s_clkout",
					"i2s1_8ch",	"testclk";

					#clock-cells = <1>;
				};

				clk_gates1: gate-clk@00d4 {
					compatible = "rockchip,rk3188-gate-clk";
					reg = <0x00d4 0x4>;
					clocks =
					<&clk_nandc>,	<&aclk_vop>,
					<&aclk_rga>,	<&jtag_clkin>,

					<&aclk_hdcp>,	<&xin24m>,
					<&xin24m>,	<&clk_mac_pll>,

					<&clk_uart0_pll>,	<&uart0_frac>,
					<&clk_uart1_pll>,	<&uart1_frac>,

					<&clk_uart2_pll>,	<&uart2_frac>,
					<&dummy>,	<&dummy>;

					clock-output-names =
					"clk_nandc",	"aclk_vop",
					"aclk_rga",	"clk_jtag",

					"aclk_hdcp",	"clk_otgphy0",
					"clk_otgphy1",	"clk_mac_pll",

					"clk_uart0_pll",	"uart0_frac",
					"clk_uart1_pll",	"uart1_frac",

					"clk_uart2_pll",	"uart2_frac",
					"reserved",	"reserved";

					#clock-cells = <1>;
				};

				clk_gates2: gate-clk@00d8 {
					compatible = "rockchip,rk3188-gate-clk";
					reg = <0x00d8 0x4>;
					clocks =
					<&dummy>,	<&dummy>,
					<&clk_gmac>,	<&dummy>,

					<&dummy>,	<&dummy>,
					<&clk_tsp>,	<&clk_crypto>,

					<&clk_tsadc>,	<&clk_spi0>,
					<&clk_spdif_pll>,	<&clk_sdmmc0>,

					<&spdif_frac>,	<&clk_sdio>,
					<&clk_emmc>,	<&clk_wifi>;

					clock-output-names =
					"reserved",	"clk_ddrmon",
					"clk_gmac",	"reserved",

					"reserved",	"reserved",
					"clk_tsp",	"clk_crypto",

					"clk_tsadc",	"clk_spi0",
					"clk_spdif_pll",	"clk_sdmmc0",

					"spdif_frac",	"clk_sdio",
					"clk_emmc",	"clk_wifi";

					#clock-cells = <1>;
				};

				clk_gates3: gate-clk@00dc {
					compatible = "rockchip,rk3188-gate-clk";
					reg = <0x00dc 0x4>;
					clocks =
					<&aclk_iep>,	<&dummy>,
					<&aclk_rkvdec>,	<&clk_vdec_cabac>,

					<&clk_vdec_core>,	<&clk_hdcp>,
					<&aclk_rga>,	<&xin24m>,

					<&clk_hdmi_cec>,	<&dummy>,
					<&dummy>,	<&aclk_vpu>,

					<&dummy>,	<&dummy>,
					<&dummy>,	<&dummy>;

					clock-output-names =
					"aclk_iep",	"dclk_vop0",
					"aclk_rkvdec",	"clk_vdec_cabac",

					"clk_vdec_core",	"clk_hdcp",
					"clk_rga",	"clk_hdmi_hdcp",

					"clk_hdmi_cec",	"reserved",
					"reserved",	"aclk_vpu",

					"reserved",	"reserved",
					"reserved",	"reserved";

					#clock-cells = <1>;
				};

				clk_gates4: gate-clk@00e0 {
					compatible = "rockchip,rk3188-gate-clk";
					reg = <0x00e0 0x4>;
					clocks =
					<&clk_core>,	<&clk_core>,
					<&aclk_core>,	<&dummy>,

					<&aclk_vpu>,	<&aclk_rkvdec>,
					<&dummy>,	<&dummy>,

					<&dummy>,	<&dummy>,
					<&dummy>,	<&dummy>,

					<&dummy>,	<&dummy>,
					<&dummy>,	<&dummy>;

					clock-output-names =
					"aclk_core",	"pclk_dbg",
					"aclk_gic400",	"reserved",

					"hclk_vpu",	"hclk_rkvdec",
					"reserved",	"reserved",

					"reserved",	"reserved",
					"reserved",	"reserved",

					"reserved",	"reserved",
					"reserved",	"reserved";

					#clock-cells = <1>;
				};

				clk_gates5: gate-clk@00e4 {
					compatible = "rockchip,rk3188-gate-clk";
					reg = <0x00e4 0x4>;
					clocks =
					<&aclk_peri>,	<&aclk_peri>,
					<&aclk_peri>,	<&clk_mac>,

					<&clk_mac>,	<&clk_mac>,
					<&clk_mac>,	<&clk_macphy>,

					<&dummy>,	<&dummy>,
					<&dummy>,	<&dummy>,

					<&dummy>,	<&dummy>,
					<&dummy>,	<&dummy>;

					clock-output-names =
					"aclk_peri",	"hclk_peri",
					"pclk_peri",	"clk_mac_ref",

					"clk_mac_refout",	"clk_mac_rx",
					"clk_mac_tx",	"clk_macphy",

					"reserved",	"reserved",
					"reserved",	"reserved",

					"reserved",	"reserved",
					"reserved",	"reserved";

					#clock-cells = <1>;
				};

				clk_gates6: gate-clk@00e8 {
					compatible = "rockchip,rk3188-gate-clk";
					reg = <0x00e8 0x4>;
					clocks =
					<&aclk_bus>,	<&aclk_bus>,
					<&aclk_bus>,	<&pclk_bus>,

					<&pclk_bus>,	<&xin24m>,
					<&xin24m>,	<&xin24m>,

					<&xin24m>,	<&xin24m>,
					<&xin24m>,	<&dummy>,

					<&dummy>,	<&pclk_bus>,
					<&dummy>,	<&dummy>;

					clock-output-names =
					"aclk_bus",	"hclk_bus",
					"pclk_bus",	"pclk_bus_pre",

					"pclk_phy",	"clk_timer0",
					"clk_timer1",	"clk_timer2",

					"clk_timer3",	"clk_timer4",
					"clk_timer5",	"reserved",

					"reserved",	"pclk_ddr",
					"reserved",	"reserved";

					#clock-cells = <1>;
				};

				clk_gates7: gate-clk@00ec {
					compatible = "rockchip,rk3188-gate-clk";
					reg = <0x00ec 0x4>;
					clocks =
					<&clk_ddr_div>,	<&clk_ddr_div>,
					<&dummy>,	<&dummy>,

					<&dummy>,	<&dummy>,
					<&dummy>,	<&dummy>,

					<&dummy>,	<&dummy>,
					<&dummy>,	<&dummy>,

					<&dummy>,	<&dummy>,
					<&clk_gpu>,	<&clk_gpu>;

					clock-output-names =
					"clk_ddrphy",	"clk4x_ddrphy",
					"reserved",	"reserved",

					"reserved",	"reserved",
					"reserved",	"reserved",

					"reserved",	"reserved",
					"reserved",	"reserved",

					"reserved",	"reserved",
					"g_aclk_gpu",	"g_aclk_gpu_noc";

					#clock-cells = <1>;
				};

				clk_gates8: gate-clk@00f0 {
					compatible = "rockchip,rk3188-gate-clk";
					reg = <0x00f0 0x4>;
					clocks =
					<&aclk_bus>,	<&aclk_bus>,
					<&aclk_bus>,	<&hclk_bus>,

					<&clk_gates6 13>,	<&clk_gates7 0>,
					<&clk_gates6 13>,	<&hclk_bus>,

					<&hclk_bus>,	<&hclk_bus>,
					<&hclk_bus>,	<&hclk_bus>,

					<&hclk_bus>,	<&pclk_bus>,
					<&pclk_bus>,	<&pclk_bus>;

					clock-output-names =
					"g_aclk_intmem",	"g_intmem_mbist",
					"g_aclk_dmac_bus",	"g_hclk_rom",

					"g_p_ddrupctl",	"g_clk_ddrupctl",
					"g_p_ddrmon",	"g_h_i2s0_8ch",

					"g_h_i2s1_8ch",	"g_h_i2s2_2ch",
					"g_h_spdif_8ch",	"g_h_crypto_mst",

					"g_h_crypto_slv",	"g_p_efuse_1024",
					"g_p_efuse_256",	"g_pclk_i2c0";

					#clock-cells = <1>;
				};

				clk_gates9: gate-clk@00f4 {
					compatible = "rockchip,rk3188-gate-clk";
					reg = <0x00f4 0x4>;
					clocks =
					<&pclk_bus>,	<&pclk_bus>,
					<&pclk_bus>,	<&dummy>,

					<&pclk_bus>,	<&pclk_bus>,
					<&pclk_bus>,	<&pclk_bus>,

					<&pclk_bus>,	<&pclk_bus>,
					<&pclk_bus>,	<&pclk_bus>,

					<&pclk_bus>,	<&pclk_bus>,
					<&pclk_bus>,	<&pclk_bus>;

					clock-output-names =
					"g_pclk_i2c1",	"g_pclk_i2c2",
					"g_pclk_i2c3",	"reserved",

					"g_pclk_timer0",	"g_pclk_stimer",
					"g_pclk_spi0",	"g_pclk_rk_pwm",

					"g_pclk_gpio0",	"g_pclk_gpio1",
					"g_pclk_gpio2",	"g_pclk_gpio3",

					"g_pclk_uart0",	"g_pclk_uart1",
					"g_pclk_uart2",	"g_pclk_tsadc";

					#clock-cells = <1>;
				};

				clk_gates10: gate-clk@00f8 {
					compatible = "rockchip,rk3188-gate-clk";
					reg = <0x00f8 0x4>;
					clocks =
					<&pclk_bus>,	<&aclk_bus>,
					<&clk_gates6 13>,	<&clk_gates6 4>,

					<&pclk_bus>,	<&clk_gates6 4>,
					<&pclk_bus>,	<&clk_gates6 4>,

					<&clk_gates6 4>,	<&clk_gates6 4>,
					<&pclk_bus>,	<&hclk_bus>,

					<&clkin_hsadc_tsp>,	<&dummy>,
					<&dummy>,	<&dummy>;

					clock-output-names =
					"g_pclk_grf",	"g_aclk_bus",
					"g_p_mschniu",	"g_p_ddrphy",

					"g_pclk_cru",	"g_p_acodecphy",
					"g_pclk_sgrf",	"g_p_hdmiphy",

					"g_p_vdacphy",	"g_p_phy_noc",
					"g_pclk_sim",	"g_hclk_tsp",

					"clk_hsadc_tsp",	"reserved",
					"reserved",	"reserved";

					#clock-cells = <1>;
				};

				clk_gates11: gate-clk@00fc {
					compatible = "rockchip,rk3188-gate-clk";
					reg = <0x00fc 0x4>;
					clocks =
					<&hclk_peri>,	<&hclk_peri>,
					<&hclk_peri>,	<&hclk_peri>,

					<&aclk_peri>,	<&pclk_peri>,
					<&hclk_peri>,	<&hclk_peri>,

					<&hclk_peri>,	<&hclk_peri>,
					<&hclk_peri>,	<&dummy>,

					<&hclk_peri>,	<&hclk_peri>,
					<&hclk_peri>,	<&dummy>;

					clock-output-names =
					"g_hclk_sdmmc",	"g_hclk_sdio",
					"g_clk_emmc",	"g_clk_nandc",

					"g_aclk_gmac",	"g_pclk_gmac",
					"g_hclk_host0",	"g_h_host0_arb",

					"g_hclk_host1",	"g_h_host1_arb",
					"g_hclk_host2",	"reserved",

					"g_hclk_otg",	"g_hclk_otg_pmu",
					"g_h_host2_arb",	"reserved";

					#clock-cells = <1>;
				};

				clk_gates12: gate-clk@0100 {
					compatible = "rockchip,rk3188-gate-clk";
					reg = <0x0100 0x4>;
					clocks =
					<&aclk_peri>,	<&hclk_peri>,
					<&pclk_peri>,	<&dummy>,

					<&dummy>,	<&dummy>,
					<&dummy>,	<&dummy>,

					<&dummy>,	<&dummy>,
					<&dummy>,	<&dummy>,

					<&dummy>,	<&dummy>,
					<&dummy>,	<&dummy>;

					clock-output-names =
					"g_a_peri_noc",	"g_h_peri_noc",
					"g_p_peri_noc",	"reserved",

					"reserved",	"reserved",
					"reserved",	"reserved",

					"reserved",	"reserved",
					"reserved",	"reserved",

					"reserved",	"reserved",
					"reserved",	"reserved";

					#clock-cells = <1>;
				};

				clk_gates13: gate-clk@0104 {
					compatible = "rockchip,rk3188-gate-clk";
					reg = <0x0104 0x4>;
					clocks =
					<&aclk_rga>,	<&hclk_vio>,
					<&aclk_iep>,	<&hclk_vio>,

					<&dummy>,	<&aclk_vop>,
					<&hclk_vio>,	<&hclk_vio>,

					<&hclk_vio>,	<&aclk_iep>,
					<&aclk_hdcp>,	<&aclk_rga>,

					<&aclk_vop>,	<&hclk_vio>,
					<&dummy>,	<&dummy>;

					clock-output-names =
					"g_aclk_rga",	"g_hclk_rga",
					"g_aclk_iep",	"g_hclk_iep",

					"reserved",	"g_aclk_vop",
					"g_hclk_vop",	"g_h_vio_ahbarbi",

					"g_h_vio_noc",	"g_a_iep_noc",
					"g_a_hdcp_noc",	"g_a_rga_noc",

					"g_a_vop_noc",	"g_h_vop_noc",
					"reserved",	"reserved";

					#clock-cells = <1>;
				};

				clk_gates14: gate-clk@0108 {
					compatible = "rockchip,rk3188-gate-clk";
					reg = <0x0108 0x4>;
					clocks =
					<&dummy>,	<&dummy>,
					<&dummy>,	<&dummy>,

					<&dummy>,	<&dummy>,
					<&hclk_vio>,	<&hclk_vio>,

					<&dummy>,	<&dummy>,
					<&aclk_hdcp>,	<&hclk_vio>,

					<&hclk_vio>,	<&dummy>,
					<&dummy>,	<&dummy>;

					clock-output-names =
					"reserved",	"reserved",
					"reserved",	"reserved",

					"reserved",	"reserved",
					"g_p_hdmi_ctrl",	"g_h_vio_h2p",

					"reserved",	"reserved",
					"g_aclk_hdcp",	"g_pclk_hdcp",

					"g_h_hdcp_mmu",	"reserved",
					"reserved",	"reserved";

					#clock-cells = <1>;
				};

				clk_gates15: gate-clk@010c {
					compatible = "rockchip,rk3188-gate-clk";
					reg = <0x010c 0x4>;
					clocks =
					<&aclk_vpu>,	<&hclk_vpu>,
					<&aclk_rkvdec>,	<&hclk_rkvdec>,

					<&aclk_vpu>,	<&hclk_vpu>,
					<&aclk_rkvdec>,	<&hclk_rkvdec>,

					<&dummy>,	<&dummy>,
					<&dummy>,	<&dummy>,

					<&dummy>,	<&dummy>,
					<&dummy>,	<&dummy>;

					clock-output-names =
					"g_aclk_vpu",	"g_hclk_vpu",
					"g_a_rkvdec",	"g_h_rkvdec",

					"g_a_vpu_noc",	"g_h_vpu_noc",
					"g_a_rkvdec_noc",	"g_h_rkvdec_noc",

					"reserved",	"reserved",
					"reserved",	"reserved",

					"reserved",	"reserved",
					"reserved",	"reserved";

					#clock-cells = <1>;
				};
		};
	};
};
};
